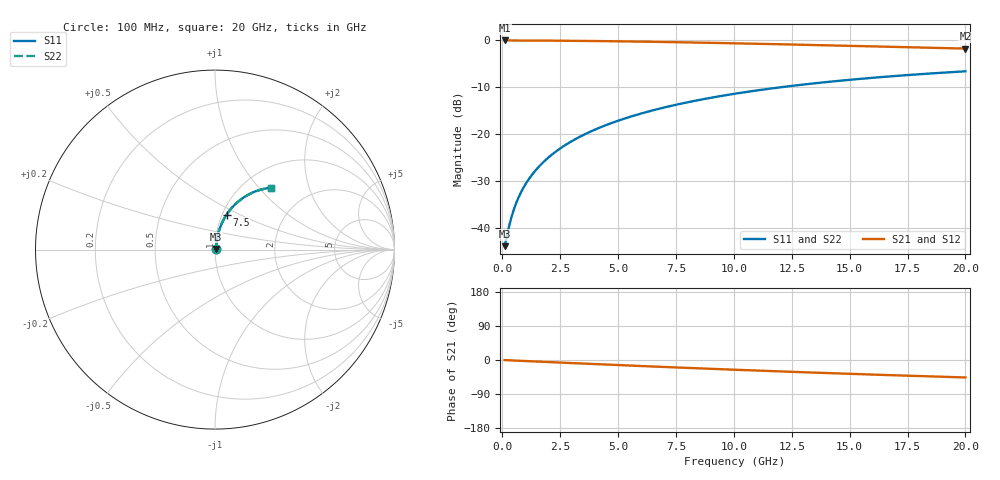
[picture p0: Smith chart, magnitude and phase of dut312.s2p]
! Touchstone file exported from HFSS 2024.1.0
!  File:  C:/UserFiles/LocalFiles/RDL_TSV_Batchsim/temp_RDL_top_312_1779606691.aedt
!  Generated:  03:13:35 PM May 24, 2026
!  Design:  RDL_top
!  Project:  temp_RDL_top_312_1779606691
!  Setup:  Setup1
!  Solution:  Sweep
! Variables:
!  dtsv = 10.80580581um
!  hbump = 3um
!  htsv = 96.67um
!  ldown = 100um
!  lrdl = 648.77um
!  p = 40
!  p1 = 40.61um
!  rhole = 1um
!  t = 450um
!  tdown = 3.915915916um
!  trdl = 3.15um
!  wdown = 15.38538539um
!  wrdl = 12.9um
# GHz S MA R 50.000000
! Terminal data exported
! Port[1] = Box2_T1
! Port[2] = Box2_T2
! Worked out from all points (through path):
!   200 points, 100 MHz to 20 GHz, reference 50 ohm
!   highest |S21| = -0.05 dB at 100 MHz (marker M1); lowest = -1.8 dB at 20 GHz (marker M2)
!   group delay of S21, straight-line fit = 6.4 ps
!   lowest |S11| = -43.8 dB at 100 MHz (marker M3), VSWR 1.01, Z = 50.6 + j0.3 ohm
!   |S11| at or under -10 dB: start of sweep to 12.04 GHz
!   |S22| runs from -43.8 to -6.6 dB; largest |S21 - S12| = 5.3e-15
!   S11 on the Smith chart (normalised r, x): 100 MHz: 1.01, +0.01; 7.5 GHz: 1.05, +0.43; 20 GHz: 1.33, +1.17
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0.1  0.006436 27.4  0.9943 -0.3  0.9943 -0.3  0.006436 27.4
! Gamma 0 0 0 0
! Port Impedance 50 0 50 0
0.3  0.01065 55.8  0.994 -0.8  0.994 -0.8  0.01065 55.8
0.4  0.0132 62.1  0.9939 -1.1  0.9939 -1.1  0.0132 62.0
0.5  0.01583 66.1  0.9937 -1.4  0.9937 -1.4  0.01583 66.1
0.6  0.0185 69.0  0.9935 -1.7  0.9935 -1.7  0.0185 69.0
0.7  0.02119 71.1  0.9933 -1.9  0.9933 -1.9  0.02119 71.1
0.9  0.02659 73.9  0.9928 -2.5  0.9928 -2.5  0.02659 73.9
1.2  0.03475 76.4  0.9922 -3.3  0.9922 -3.3  0.03475 76.4
1.4  0.04022 77.4  0.9917 -3.8  0.9917 -3.8  0.04022 77.4
1.7  0.04846 78.3  0.9909 -4.6  0.9909 -4.6  0.04846 78.3
2.2  0.06224 78.9  0.9893 -6.0  0.9893 -6.0  0.06224 78.9
2.8  0.07881 78.9  0.9868 -7.6  0.9868 -7.6  0.0788 78.9
3.5  0.09811 78.4  0.9834 -9.5  0.9834 -9.5  0.0981 78.3
4.2  0.1173 77.5  0.9793 -11.3  0.9793 -11.3  0.1173 77.5
5  0.1391 76.2  0.974 -13.4  0.974 -13.4  0.1391 76.2
5.9  0.1634 74.7  0.9671 -15.7  0.9671 -15.7  0.1634 74.6
6.8  0.1874 73.0  0.9595 -17.9  0.9595 -17.9  0.1873 73.0
7.5  0.2057 71.6  0.9531 -19.7  0.9531 -19.7  0.2056 71.6
10.1  0.271 66.4  0.9268 -25.8  0.9268 -25.8  0.2709 66.4
13.4  0.3461 59.8  0.8899 -33.2  0.8899 -33.2  0.346 59.8
16.7  0.4116 53.5  0.8519 -39.9  0.8519 -39.9  0.4113 53.5
20  0.4671 47.6  0.8147 -46.1  0.8147 -46.1  0.4668 47.6
